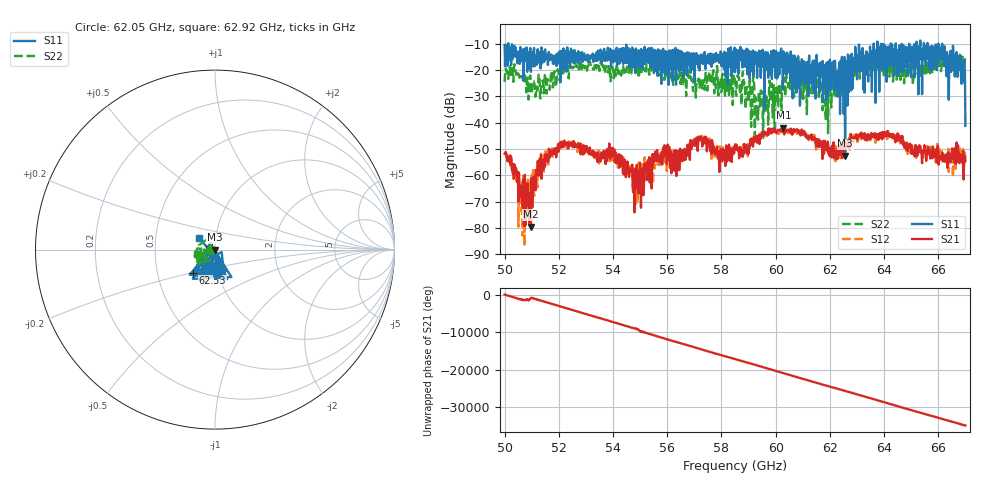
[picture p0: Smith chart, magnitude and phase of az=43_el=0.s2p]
!Created with skrf (http://scikit-rf.org).
# GHz S RI R 50.0
!freq ReS11 ImS11 ReS21 ImS21 ReS12 ImS12 ReS22 ImS22
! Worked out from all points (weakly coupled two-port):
!   1001 points, 50 GHz to 67 GHz, reference 50 ohm
!   highest |S21| = -41.82 dB at 60.28 GHz (marker M1); lowest = -79.4 dB at 50.97 GHz (marker M2)
!   lowest |S11| = -52.5 dB at 62.56 GHz (marker M3), VSWR 1.00, Z = 49.8 - j0.0755 ohm
!   |S11| at or under -10 dB: 50.14 GHz to 63.62 GHz (13.48 GHz wide, 23.7 % of centre); 64.43 GHz to 64.93 GHz (492.6 MHz wide, 0.762 % of centre); 66.15 GHz to end of sweep (the widest 3 of 14)
!   |S22| runs from -47.3 to -14.1 dB; largest |S21 - S12| = 0.0022
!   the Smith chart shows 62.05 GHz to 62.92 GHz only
!   S11 on the Smith chart (normalised r, x): 62.05 GHz: 0.98, -0.27; 62.53 GHz: 0.76, -0.20; 62.92 GHz: 0.83, +0.11
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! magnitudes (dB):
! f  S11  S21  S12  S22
! 50 GHz  -10.4  -51.8  -51.5  -24.5
! 50.59 GHz  -12.9  -67.0  -64.2  -22.6
! 50.97 GHz  -20.7  -79.4  -63.8  -24.9
! 51.26 GHz  -15.6  -60.0  -60.6  -21.7
! 51.72 GHz  -14.1  -52.1  -53.0  -20.9
! 52.84 GHz  -14.6  -49.9  -49.9  -19.6
! 54.06 GHz  -16.3  -54.9  -54.5  -19.3
! 54.81 GHz  -12.4  -60.6  -61.3  -19.5
! 55.68 GHz  -13.9  -52.4  -55.6  -22.1
! 57.24 GHz  -14.1  -45.4  -46.4  -23.0
! 58.5 GHz  -20.8  -48.2  -49.7  -24.1
! 59.32 GHz  -23.0  -47.6  -45.9  -34.8
! 60.28 GHz  -12.9  -41.8  -43.6  -27.5
! 61.34 GHz  -24.9  -46.5  -44.8  -26.1
! 62.05 GHz  -17.2  -50.3  -52.6  -34.1
! 62.53 GHz  -15.1  -46.5  -48.6  -19.4
! 62.56 GHz  -52.5  -50.6  -51.2  -19.9
! 62.92 GHz  -19.3  -45.9  -45.9  -19.6
! 64.18 GHz  -18.6  -44.5  -46.2  -18.8
! 66.08 GHz  -15.6  -54.0  -52.3  -15.7
! 66.9 GHz  -16.9  -55.0  -55.6  -15.1
! 67 GHz  -41.2  -54.6  -54.8  -15.5
